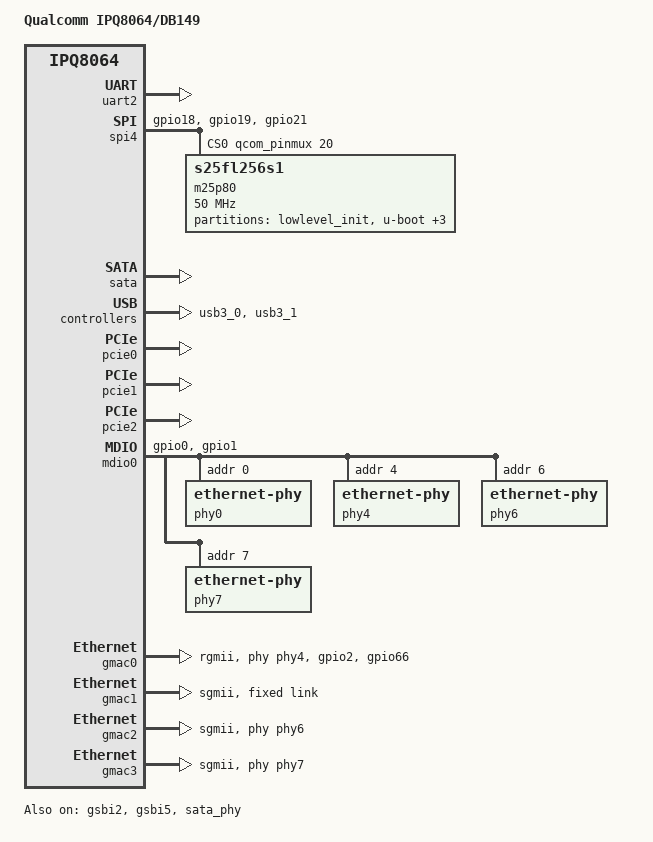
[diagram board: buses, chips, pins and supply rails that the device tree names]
#include "qcom-ipq8064-v1.0.dtsi"

/ {
	model = "Qualcomm IPQ8064/DB149";
	compatible = "qcom,ipq8064-db149", "qcom,ipq8064";

	reserved-memory {
		#address-cells = <1>;
		#size-cells = <1>;
		ranges;
		rsvd@41200000 {
			reg = <0x41200000 0x300000>;
			no-map;
		};
	};

	alias {
		serial0 = &uart2;
		mdio-gpio0 = &mdio0;
	};

	chosen {
		stdout-path = "serial0:115200n8";
	};
};

&qcom_pinmux {
	i2c4_pins: i2c4_pinmux {
		pins = "gpio12", "gpio13";
		function = "gsbi4";
		bias-disable;
	};

	spi_pins: spi_pins {
		mux {
			pins = "gpio18", "gpio19", "gpio21";
			function = "gsbi5";
			drive-strength = <10>;
			bias-none;
		};
	};

	mdio0_pins: mdio0_pins {
		mux {
			pins = "gpio0", "gpio1";
			function = "mdio";
			drive-strength = <8>;
			bias-disable;
		};
	};

	rgmii0_pins: rgmii0_pins {
		mux {
			pins = "gpio2", "gpio66";
			drive-strength = <8>;
			bias-disable;
		};
	};
};

&gsbi2 {
	qcom,mode = <GSBI_PROT_I2C_UART>;
	status = "okay";
	uart2: serial@12490000 {
		status = "okay";
	};
};

&gsbi5 {
	qcom,mode = <GSBI_PROT_SPI>;
	status = "okay";

	spi4: spi@1a280000 {
		status = "okay";
		spi-max-frequency = <50000000>;

		pinctrl-0 = <&spi_pins>;
		pinctrl-names = "default";

		cs-gpios = <&qcom_pinmux 20 0>;

		m25p80@0 {
			compatible = "s25fl256s1";
			#address-cells = <1>;
			#size-cells = <1>;
			spi-max-frequency = <50000000>;
			reg = <0>;
			m25p,fast-read;

			partition@0 {
				label = "lowlevel_init";
				reg = <0x0 0x1b0000>;
			};

			partition@1 {
				label = "u-boot";
				reg = <0x1b0000 0x80000>;
			};

			partition@2 {
				label = "u-boot-env";
				reg = <0x230000 0x40000>;
			};

			partition@3 {
				label = "caldata";
				reg = <0x270000 0x40000>;
			};

			partition@4 {
				label = "firmware";
				reg = <0x2b0000 0x1d50000>;
			};
		};
	};
};

&sata_phy {
	status = "okay";
};

&sata {
	status = "okay";
};

&usb3_0 {
	status = "okay";
};

&usb3_1 {
	status = "okay";
};

&pcie0 {
	status = "okay";
};

&pcie1 {
	status = "okay";
};

&pcie2 {
	status = "okay";
};

&mdio0 {
	status = "okay";

	pinctrl-0 = <&mdio0_pins>;
	pinctrl-names = "default";

	phy0: ethernet-phy@0 {
		reg = <0>;
		qca,ar8327-initvals = <
			0x00004 0x7600000   /* PAD0_MODE */
			0x00008 0x1000000   /* PAD5_MODE */
			0x0000c 0x80        /* PAD6_MODE */
			0x000e4 0x6a545     /* MAC_POWER_SEL */
			0x000e0 0xc74164de  /* SGMII_CTRL */
			0x0007c 0x4e        /* PORT0_STATUS */
			0x00094 0x4e        /* PORT6_STATUS */
		>;
	};

	phy4: ethernet-phy@4 {
		reg = <4>;
	};

	phy6: ethernet-phy@6 {
		reg = <6>;
	};

	phy7: ethernet-phy@7 {
		reg = <7>;
	};
};

&gmac0 {
	status = "okay";
	phy-mode = "rgmii";
	qcom,id = <0>;
	phy-handle = <&phy4>;

	pinctrl-0 = <&rgmii0_pins>;
	pinctrl-names = "default";
};

&gmac1 {
	status = "okay";
	phy-mode = "sgmii";
	qcom,id = <1>;

	fixed-link {
		speed = <1000>;
		full-duplex;
	};
};

&gmac2 {
	status = "okay";
	phy-mode = "sgmii";
	qcom,id = <2>;
	phy-handle = <&phy6>;
};

&gmac3 {
	status = "okay";
	phy-mode = "sgmii";
	qcom,id = <3>;
	phy-handle = <&phy7>;
};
